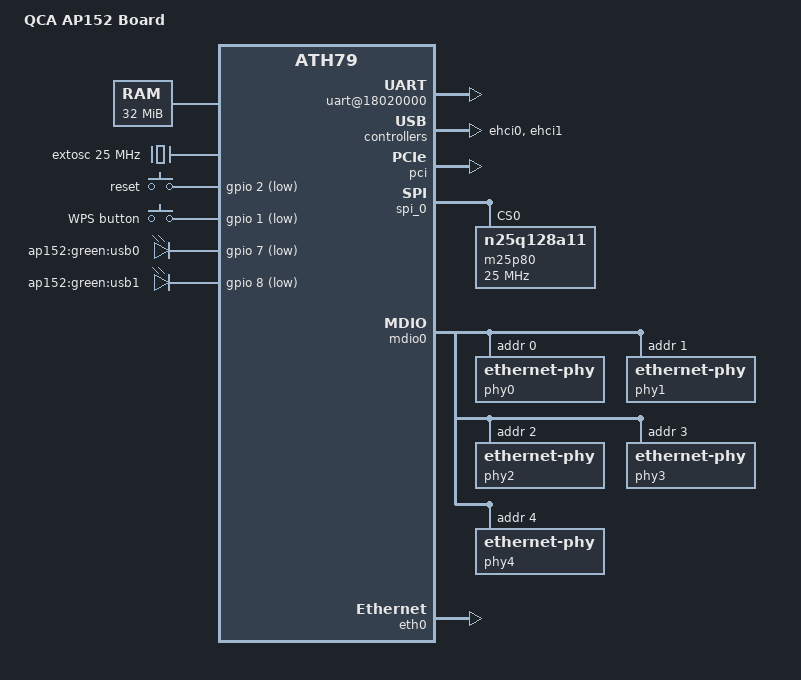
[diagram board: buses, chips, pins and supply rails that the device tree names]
/* Copyright (c) 2016-2017, The Linux Foundation. All rights reserved.
 *
 * Permission to use, copy, modify, and/or distribute this software for any
 * purpose with or without fee is hereby granted, provided that the above
 * copyright notice and this permission notice appear in all copies.
 *
 * THE SOFTWARE IS PROVIDED "AS IS" AND THE AUTHOR DISCLAIMS ALL WARRANTIES
 * WITH REGARD TO THIS SOFTWARE INCLUDING ALL IMPLIED WARRANTIES OF
 * MERCHANTABILITY AND FITNESS. IN NO EVENT SHALL THE AUTHOR BE LIABLE FOR
 * ANY SPECIAL, DIRECT, INDIRECT, OR CONSEQUENTIAL DAMAGES OR ANY DAMAGES
 * WHATSOEVER RESULTING FROM LOSS OF USE, DATA OR PROFITS, WHETHER IN AN
 * ACTION OF CONTRACT, NEGLIGENCE OR OTHER TORTIOUS ACTION, ARISING OUT OF
 * OR IN CONNECTION WITH THE USE OR PERFORMANCE OF THIS SOFTWARE.
 *
 */

/dts-v1/;

#include <dt-bindings/gpio/gpio.h>
#include <dt-bindings/input/input.h>

#include "ath79.dtsi"

/ {
	compatible = "qca,ap152", "qca,ath79";
	model = "QCA AP152 Board";

	aliases {
		serial0 = "/ahb/apb/uart@18020000";
		ehci_0 = &ehci0;
		ehci_1 = &ehci1;
		eth0 = "/ahb/ethernet@19000000";
	};

	memory@0 {
		device_type = "memory";
		reg = <0x0 0x2000000>;
	};

	chosen {
		bootargs = "board=DTB console=ttyS0,115200 mtdparts=spi0.0:256k(u-boot)ro,64k(u-boot-env),6336k(rootfs),1472k(kernel),64k(art),7808k@0x50000(firmware) rootfstype=squashfs,jffs2 noinitrd crashkernel=10M@20M";
	};

	extosc: oscillator {
		compatible = "fixed-clock";
		#clock-cells = <0>;
		clock-frequency = <25000000>;
	};

	ahb {
		apb {
			uart@18020000 {
				status = "okay";
			};

			gpio@18040000 {
				val,gpio = <
					33 3
					32 4
				>;
			};

			pll-controller@18050000 {
				clocks = <&extosc>;
			};

			ehci0: usb@1b000000 {
				compatible = "qca,ath79-ehci";
				reg = <0x1b000000 0x200>;
				interrupt-parent = <&ip3_int>;
				interrupts = <0>;
				has-transaction-translator;
				qca_force_host_mode;
				qca_force_16bit_ptw;
				caps-offset = <0x100>;
				status = "okay";
			};

			ehci1: usb@1b400000 {
				compatible = "qca,ath79-ehci";
				reg = <0x1b400000 0x200>;
				interrupt-parent = <&ip3_int>;
				interrupts = <1>;
				has-transaction-translator;
				qca_force_host_mode;
				qca_force_16bit_ptw;
				caps-offset = <0x100>;
				status = "okay";
			};

			pci: pci@0x16000000 {
				compatible = "qca,ar724x-pci";
				reg = <0x16000000 0x1000>,
				      <0x18280000 0x100>,
				      <0x18250000 0x1000>,
				      <0x12000000 0x02000000>,
					<1 1>;
				reg-names = "cfg_base","ctrl_base","crp_base",
						"mem_base","io_base";
				interrupt-parent = <&ip3_int>;
				interrupts = <2>;
				status = "okay";
			};
		};

		spi_0: spi@1f000000 {
			status = "okay";
			m25p80@0 {
				#address-cells = <1>;
				#size-cells = <1>;
				compatible = "n25q128a11";
				linux,modalias = "m25p80", "n25q128a11";
				reg = <0>;
				spi-max-frequency = <25000000>;
			};
		};

		mdio0: mdio@19000000 {
			compatible = "qca,ag71xx-mdio";
			reg = <0x19000000 0x200>;
			phy-mask = <0>;
			builtin-switch = <0>;
			ar934x-support = <0>;
			reset-bit = <0x400000>;
			phy0: ethernet-phy@0 {
				reg = <0>;
				qca,ar8327-initvals = <
					0x00004 0x80080080     /* PAD0_MODE */
					0x0007c 0x7e        /* PORT0_STATUS */
				>;
			};
			phy1: ethernet-phy@1 {
				reg = <1>;
			};
			phy2: ethernet-phy@2 {
				reg = <2>;
			};
			phy3: ethernet-phy@3 {
				reg = <3>;
			};
			phy4: ethernet-phy@4 {
				reg = <4>;
			};
		};

		eth0: ethernet@19000000 {
			compatible = "qca,ag71xx-eth";
			reg = <0x19000000 0x200>,
				<0x18070000 0x14>;
			reg-names = "mac_base",
					"cfg_base";
			mdio-handle = <&mdio0>;
			eth-pll-data = <0x1919 0x101 0x3000000>;
			phy-mode = <3>;
			eth-cfg = <0x40>;
			phy-mask = <1>;
			force-speed = <1000>;
			force-duplex = <1>;
			max-frame-len = <1540>;
			desc-pktlen-mask = <0xfff>;
			reset-bit = <0x200>;
			has-gbit = <1>;
			ar724x-support = <1>;
			qca955x-support = <0>;
			qca9561-support = <1>;
			qca956x-support;
			fifo-cfg = <0x0010ffff 0x015500aa 0x01f00140>;
			interrupts = <4>;
			interrupt-names = "mac_irq";
			local-mac-address = [ 00 00 00 00 00 00 ];
		};
	};

	gpio-keys-polled {
		compatible = "gpio-keys-polled";
		#address-cells = <1>;
		#size-cells = <0>;

		poll-interval = <20>;
		button@0 {
			label = "reset";
			linux,code = <KEY_RESTART>;
			gpios = <&gpio 2 GPIO_ACTIVE_LOW>;
			debounce-interval = <60>;
		};

		button@1 {
			label = "WPS button";
			linux,code = <KEY_WPS_BUTTON>;
			gpios = <&gpio 1 GPIO_ACTIVE_LOW>;
			debounce-interval = <60>;
		};
	};

	leds {
		compatible = "gpio-leds";
		led@0 {
			label = "ap152:green:usb0";
			gpios = <&gpio 7 GPIO_ACTIVE_LOW>;

		};

		led@1 {
			label = "ap152:green:usb1";
			gpios = <&gpio 8 GPIO_ACTIVE_LOW>;

		};

	};
};
